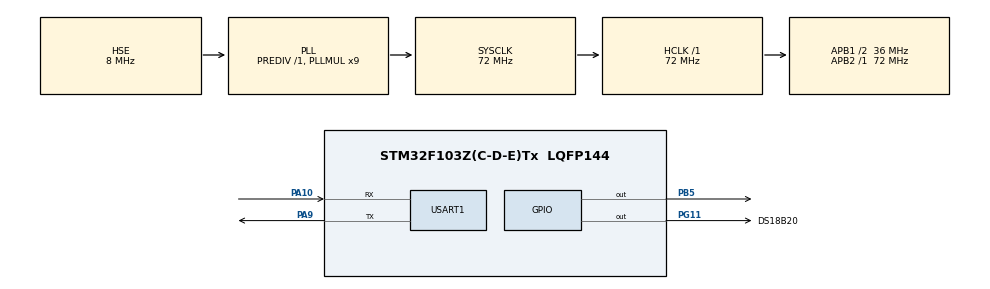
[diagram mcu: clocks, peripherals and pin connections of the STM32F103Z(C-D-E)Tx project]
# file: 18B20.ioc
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Mcu.Family=STM32F1
RCC.PLLSourceVirtual=RCC_PLLSOURCE_HSE
PA10.Mode=Asynchronous
RCC.APB1CLKDivider=RCC_HCLK_DIV2
PG11.Signal=GPIO_Output
RCC.SYSCLKSource=RCC_SYSCLKSOURCE_PLLCLK
ProjectManager.StackSize=0x400
PA13.Signal=SYS_JTMS-SWDIO
PA9.Mode=Asynchronous
ProjectManager.TargetToolchain=STM32CubeIDE
PG11.GPIO_PuPd=GPIO_PULLUP
RCC.HCLKFreq_Value=72000000
RCC.APB2TimFreq_Value=72000000
PA9.Signal=USART1_TX
OSC_IN.Signal=RCC_OSC_IN
RCC.USBFreq_Value=72000000
OSC_OUT.Mode=HSE-External-Oscillator
OSC_OUT.Signal=RCC_OSC_OUT
RCC.AHBFreq_Value=72000000
board=custom
RCC.PLLMUL=RCC_PLL_MUL9
PG11.GPIO_Speed=GPIO_SPEED_FREQ_HIGH
RCC.APB2Freq_Value=72000000
PA14.Mode=Serial_Wire
PA13.Mode=Serial_Wire
Mcu.Name=STM32F103Z(C-D-E)Tx
RCC.SYSCLKFreq_VALUE=72000000
Mcu.Package=LQFP144
PB5.Signal=GPIO_Output
OSC_IN.Mode=HSE-External-Oscillator
USART1.VirtualMode=VM_ASYNC
PA10.Signal=USART1_RX
PA14.Signal=SYS_JTCK-SWCLK
ProjectManager.HeapSize=0x200
PB5.GPIO_Speed=GPIO_SPEED_FREQ_HIGH
NVIC.PriorityGroup=NVIC_PRIORITYGROUP_4
RCC.APB1TimFreq_Value=72000000
PG11.GPIO_Label=DS18B20
RCC.APB1Freq_Value=36000000

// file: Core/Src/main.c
/* USER CODE BEGIN Header */
/**
 ******************************************************************************
 * @file           : main.c
 * @brief          : Main program body
 ******************************************************************************
 * @attention
 *
 * <h2><center>&copy; Copyright (c) 2021 STMicroelectronics.
 * All rights reserved.</center></h2>
 *
 * This software component is licensed by ST under BSD 3-Clause license,
 * the "License"; You may not use this file except in compliance with the
 * License. You may obtain a copy of the License at:
 *                        opensource.org/licenses/BSD-3-Clause
 *
 ******************************************************************************
 */
/* USER CODE END Header */
#include "main.h"
#include "usart.h"
#include "gpio.h"

/* USER CODE BEGIN Includes */
#include "ds18b20.h"
/* USER CODE END Includes */

void SystemClock_Config(void);

int main(void) {
	/* USER CODE BEGIN 1 */
	int16_t temperature;
	uint32_t counter = 0;
	/* USER CODE END 1 */

	/* MCU Configuration--------------------------------------------------------*/

	/* Reset of all peripherals, Initializes the Flash interface and the Systick. */
	HAL_Init();

	/* Configure the system clock */
	SystemClock_Config();

	/* Initialize all configured peripherals */
	MX_GPIO_Init();
	MX_USART1_UART_Init();
	/* USER CODE BEGIN 2 */
	Ds18b20_Init();
	print("starting....");
	/* USER CODE END 2 */

	/* Infinite loop */
	/* USER CODE BEGIN WHILE */
	while (1) {

		if (counter % 250 == 0) {
			HAL_GPIO_TogglePin(GPIOB, GPIO_PIN_5);
		}

		if (counter % 1000 == 0) {
			Ds18b20_ManualConvert();
			if (ds18b20[0].DataIsValid) {
				temperature = (int16_t) (ds18b20[0].Temperature * 100);
				print("当前温度:%d.%02d°C", temperature / 100, temperature % 100);
			} else {
				print("无效温度");
			}
		}

		counter++;
		if (counter > 30000) {
			counter = 0;
		}
		HAL_Delay(1);
		/* USER CODE END WHILE */

	}
}

void SystemClock_Config(void) {
	RCC_OscInitTypeDef RCC_OscInitStruct = { 0 };
	RCC_ClkInitTypeDef RCC_ClkInitStruct = { 0 };

	/** Initializes the RCC Oscillators according to the specified parameters
	 * in the RCC_OscInitTypeDef structure.
	 */
	RCC_OscInitStruct.OscillatorType = RCC_OSCILLATORTYPE_HSE;
	RCC_OscInitStruct.HSEState = RCC_HSE_ON;
	RCC_OscInitStruct.HSEPredivValue = RCC_HSE_PREDIV_DIV1;
	RCC_OscInitStruct.HSIState = RCC_HSI_ON;
	RCC_OscInitStruct.PLL.PLLState = RCC_PLL_ON;
	RCC_OscInitStruct.PLL.PLLSource = RCC_PLLSOURCE_HSE;
	RCC_OscInitStruct.PLL.PLLMUL = RCC_PLL_MUL9;
	if (HAL_RCC_OscConfig(&RCC_OscInitStruct) != HAL_OK) {
		Error_Handler();
	}
	/** Initializes the CPU, AHB and APB buses clocks
	 */
	RCC_ClkInitStruct.ClockType = RCC_CLOCKTYPE_HCLK | RCC_CLOCKTYPE_SYSCLK
			| RCC_CLOCKTYPE_PCLK1 | RCC_CLOCKTYPE_PCLK2;
	RCC_ClkInitStruct.SYSCLKSource = RCC_SYSCLKSOURCE_PLLCLK;
	RCC_ClkInitStruct.AHBCLKDivider = RCC_SYSCLK_DIV1;
	RCC_ClkInitStruct.APB1CLKDivider = RCC_HCLK_DIV2;
	RCC_ClkInitStruct.APB2CLKDivider = RCC_HCLK_DIV1;

	if (HAL_RCC_ClockConfig(&RCC_ClkInitStruct, FLASH_LATENCY_2) != HAL_OK) {
		Error_Handler();
	}
}

/* USER CODE BEGIN 4 */
// 须在头文件中添加 #include <stdio.h>
//////////////////////////////////////////////////////////////////
// 加入以下代码,支持printf函数,而不需要选择use MicroLIB
// MDK中同样定义了 __GNUC__，使用__ARMCC_VERSION 或  __CC_ARM 区分MDK和STM32CubeIDE
// MDK预定义宏，详见 ：https://www.keil.com/support/man/docs/armcc/armcc_chr1359125007083.htm
#ifdef __CC_ARM // 或 #ifdef __ARMCC_VERSION
  #define PUTCHAR_PROTOTYPE int fputc(int ch, FILE *f)
#else
#define PUTCHAR_PROTOTYPE int __io_putchar(int ch)
#endif
#if 1

FILE __stdout;
//定义_sys_exit()以避免使用半主机模式
void _sys_exit(int x) {
	x = x;
}
//重定义fputc函数
PUTCHAR_PROTOTYPE {
	// 具体哪个串口可以更改huart2为其它串口
	// HAL_UART_Transmit(&huart2, (uint8_t *)&ch, 1 , 0xffff);
	while ((USART1->SR & 0X40) == 0) {
	}; //循环发送,直到发送完毕
	USART1->DR = (uint8_t) ch;

//  while ((USART2->SR & 0X40) == 0) {
//  }; //循环发送,直到发送完毕
//  USART2->DR = (uint8_t) ch;

	return ch;
}
#endif

/* USER CODE END 4 */

void Error_Handler(void) {
	__disable_irq();
	while (1) {
	}
}

/************************ (C) COPYRIGHT STMicroelectronics *****END OF FILE****/
